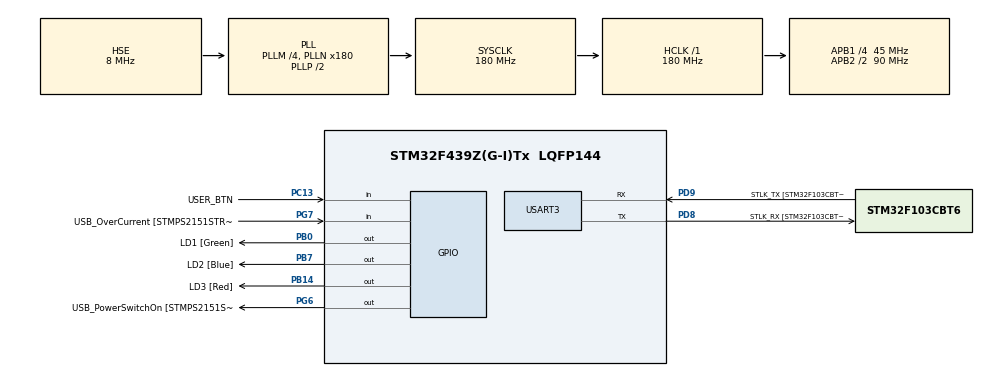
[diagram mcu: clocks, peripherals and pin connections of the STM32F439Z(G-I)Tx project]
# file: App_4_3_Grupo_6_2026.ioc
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Mcu.Family=STM32F4
Mcu.Name=STM32F439Z(G-I)Tx
Mcu.Package=LQFP144
NVIC.PriorityGroup=NVIC_PRIORITYGROUP_4
PA13.GPIO_Label=TMS
PA13.Mode=Serial_Wire
PA13.Signal=SYS_JTMS-SWDIO
PA14.GPIO_Label=TCK
PA14.Mode=Serial_Wire
PA14.Signal=SYS_JTCK-SWCLK
PB0.GPIO_Label=LD1 [Green]
PB0.Signal=GPIO_Output
PB14.GPIO_Label=LD3 [Red]
PB14.Signal=GPIO_Output
PB7.GPIO_Label=LD2 [Blue]
PB7.Signal=GPIO_Output
PC13.GPIO_Label=USER_BTN
PC13.Signal=GPIO_Input
PC14/OSC32_IN.Mode=LSE-External-Oscillator
PC14/OSC32_IN.Signal=RCC_OSC32_IN
PC15/OSC32_OUT.Mode=LSE-External-Oscillator
PC15/OSC32_OUT.Signal=RCC_OSC32_OUT
PD8.GPIO_Label=STLK_RX [STM32F103CBT6_PA3]
PD8.Mode=Asynchronous
PD8.Signal=USART3_TX
PD9.GPIO_Label=STLK_TX [STM32F103CBT6_PA2]
PD9.Mode=Asynchronous
PD9.Signal=USART3_RX
PG6.GPIO_Label=USB_PowerSwitchOn [STMPS2151STR_EN]
PG6.Signal=GPIO_Output
PG7.GPIO_Label=USB_OverCurrent [STMPS2151STR_FAULT]
PG7.Signal=GPIO_Input
PH0/OSC_IN.GPIO_Label=MCO [STM32F103CBT6_PA8]
PH0/OSC_IN.Mode=HSE-External-Oscillator
PH0/OSC_IN.Signal=RCC_OSC_IN
PH1/OSC_OUT.Mode=HSE-External-Oscillator
PH1/OSC_OUT.Signal=RCC_OSC_OUT
ProjectManager.HeapSize=0x200
ProjectManager.StackSize=0x400
ProjectManager.TargetToolchain=STM32CubeIDE
RCC.48MHZClocksFreq_Value=51428571.428571425
RCC.AHBFreq_Value=180000000
RCC.APB1CLKDivider=RCC_HCLK_DIV4
RCC.APB1Freq_Value=45000000
RCC.APB1TimFreq_Value=90000000
RCC.APB2CLKDivider=RCC_HCLK_DIV2
RCC.APB2Freq_Value=90000000
RCC.APB2TimFreq_Value=180000000
RCC.CortexFreq_Value=180000000
RCC.HCLKFreq_Value=180000000
RCC.HSE_VALUE=8000000
RCC.HSI_VALUE=16000000
RCC.PLLM=4
RCC.PLLMUL=RCC_PLL_MUL9
RCC.PLLN=180
RCC.PLLQ=7
RCC.PLLSourceVirtual=RCC_PLLSOURCE_HSE
RCC.PRESCALERUSB=RCC_USBCLKSOURCE_PLL_DIV1_5
RCC.SYSCLKFreq_VALUE=180000000
RCC.SYSCLKSource=RCC_SYSCLKSOURCE_PLLCLK
RCC.SYSCLKSourceVirtual=RCC_SYSCLKSOURCE_PLLCLK
RCC.USBFreq_Value=48000000
RCC.VCOOutputFreq_Value=360000000
USART3.VirtualMode=VM_ASYNC
board=NUCLEO-F439ZI

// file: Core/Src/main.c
/* USER CODE BEGIN Header */
/**
 * @file main.c
 * @author Mamani Flores Carlos (UTN FRT)
 * @brief Aplicación multiesquema de secuencias de LEDs gobernada por MEF jerárquica.
 * @details Módulo de Capa 3 que commuta cíclicamente entre 4 patrones luminosos
 *          (secuencia paso a paso, parpadeo síncrono, asíncrono y contrafase) mediante
 *          el USER_Btn con antirrebote y temporizaciones independientes no bloqueantes.
 * @version 1.0
 * @date 2026
 *
 * @attention
 * Copyright (c) 2026 STMicroelectronics.
 * All rights reserved.
 */
/* USER CODE END Header */
#include "main.h"

/* USER CODE BEGIN Includes */

#include "stdbool.h"
#include "driver_led.h"
#include "driver_led_pal.h"
#include "nb_delay.h"
#include "driver_boton.h"
#include "driver_boton_pal.h"

/* USER CODE END Includes */

/* USER CODE BEGIN PTD */

/** * @brief Definición de estados para la MEF.
 */
typedef enum{
	Secuencia_1 = 0,
	Secuencia_2,
	Secuencia_3,
	Secuencia_4
} Estado_t;

/**
 * @brief Definición de estados para la MEF de Secuencia 1.
 */
typedef enum{
	Estado_Encendido = 0,
	Estado_Apagado
} Estado_Sec1_t;

/* USER CODE END PTD */

/* USER CODE BEGIN PD */

#define INDICE_BTN_USER 0U

/* USER CODE END PD */

UART_HandleTypeDef huart3;

/* USER CODE BEGIN PV */

/* Tablas físicas asociadas a la Capa PAL */
static const BOTON_Hardware_t tabla_botones_hw[] = {
		[INDICE_BTN_USER] = {USER_BTN_GPIO_Port, USER_BTN_Pin, BOTON_ACTIVO_ALTO}
};
static const uint8_t cant_botones = sizeof(tabla_botones_hw) / sizeof(tabla_botones_hw[0]);

static const LED_Hardware_t tabla_leds_hardware[] = {
		{LD1_GPIO_Port, LD1_Pin}, // LED 0: Verde
		{LD2_GPIO_Port, LD2_Pin}, // LED 1: Azul
		{LD3_GPIO_Port, LD3_Pin}  // LED 2: Rojo
};
static const uint8_t total_leds = sizeof(tabla_leds_hardware) / sizeof(tabla_leds_hardware[0]);

/* Base de tiempos configurables */
static const tick_t tiempo_sec1 = 150U;
static const tick_t tiempo_sec2 = 300U;
static const tick_t tiempo_sec4 = 300U;
static const tick_t tiempo_debounce = 50U; // Ventana de guarda para el antirrebote

/* Instancias de temporización no bloqueante */
static nb_delay_t delay_sec1;
static nb_delay_t delay_sec2;
static nb_delay_t delay_sec3_led0; // 100 ms
static nb_delay_t delay_sec3_led1; // 300 ms
static nb_delay_t delay_sec3_led2; // 600 ms
static nb_delay_t delay_sec4;
/* Instancia de retardo para el antirrebote (Debounce) */
static nb_delay_t delay_debounce;

/* Variables de control de estados */
static Estado_t estado_secuencia = Secuencia_1;
static Estado_Sec1_t modo_sec1 = Estado_Encendido;
static uint8_t indice_led = 0U;
static bool estado_parpadeo_sec2 = false;
static bool estado_parpadeo_sec4 = false;

/* USER CODE END PV */

void SystemClock_Config(void);
static void MX_GPIO_Init(void);
static void MX_USART3_UART_Init(void);
/* USER CODE BEGIN PFP */

static void Reset_Secuencias_Variables(void);

/* USER CODE END PFP */

/* USER CODE BEGIN 0 */

/**
 * @brief Reinicia las variables locales y apaga todas las salidas.
 */
static void Reset_Secuencias_Variables(void)
{
	for (uint8_t i = 0U; i < LED_GetCount(); i++)
	{
		LED_Write(i, false);
	}

	indice_led = 0U;
	modo_sec1 = Estado_Encendido;
	estado_parpadeo_sec2 = false;
	estado_parpadeo_sec4 = false;

	/* Reinicio de temporizadores para inicio sincronizado */
	nb_delay_init(&delay_sec1, tiempo_sec1);
	nb_delay_init(&delay_sec2, tiempo_sec2);
	nb_delay_init(&delay_sec3_led0, 100U);
	nb_delay_init(&delay_sec3_led1, 300U);
	nb_delay_init(&delay_sec3_led2, 600U);
	nb_delay_init(&delay_sec4, tiempo_sec4);
	nb_delay_init(&delay_debounce, tiempo_debounce);
}

/* USER CODE END 0 */

int main(void)
{

	/* MCU Configuration--------------------------------------------------------*/

	/* Reset of all peripherals, Initializes the Flash interface and the Systick. */
	HAL_Init();

	/* Configure the system clock */
	SystemClock_Config();

	/* Initialize all configured peripherals */
	MX_GPIO_Init();
	MX_USART3_UART_Init();
	/* USER CODE BEGIN 2 */

	/* Inicialización de controladores de Capa 2 */
	LED_Init(tabla_leds_hardware, total_leds);
	BOTON_Init(tabla_botones_hw, cant_botones);

	/* Inicialización de temporizadores y variables */
	Reset_Secuencias_Variables();

	/* USER CODE END 2 */

	/* Infinite loop */
	while (1)
	{

		/* USER CODE BEGIN 3 */

		/*
		 * 1. Polling con antirrebote no bloqueante:
		 * Evalúa el botón cada 'tiempo_debounce' ms, ignorando el ruido de los contactos.
		 */
		if (nb_delay_read(&delay_debounce))
		{
			if (BOTON_DetectarFlancoPresionado(INDICE_BTN_USER))
			{
				estado_secuencia++;
				if (estado_secuencia > Secuencia_4)
				{
					estado_secuencia = Secuencia_1;
				}

				Reset_Secuencias_Variables();
			}
		}

		/*
		 * 2. Máquina de Estados Principal (100% no bloqueante)
		 */
		switch (estado_secuencia)
		{
		case Secuencia_1:
			/* Secuencia circular paso a paso */
			if (nb_delay_read(&delay_sec1))
			{
				switch (modo_sec1)
				{
				case Estado_Encendido:
					LED_Write(indice_led, true);
					modo_sec1 = Estado_Apagado;
					break;

				case Estado_Apagado:
					LED_Write(indice_led, false);
					indice_led++;
					if (indice_led >= LED_GetCount())
					{
						indice_led = 0U;
					}
					modo_sec1 = Estado_Encendido;
					break;

				default:
					modo_sec1 = Estado_Encendido;
					indice_led = 0U;
					break;
				}
			}
			break;

		case Secuencia_2:
			/* Parpadeo síncrono general (toggle en bloque cada 300 ms) */
			if (nb_delay_read(&delay_sec2))
			{
				estado_parpadeo_sec2 = !estado_parpadeo_sec2;
				for (uint8_t j = 0U; j < LED_GetCount(); j++)
				{
					LED_Write(j, estado_parpadeo_sec2);
				}
			}
			break;

		case Secuencia_3:
			/* Parpadeo asincrónico independiente por LED */
			if (nb_delay_read(&delay_sec3_led0))
			{
				LED_Toggle(0U); // LED 0 conmuta cada 100 ms
			}
			if (nb_delay_read(&delay_sec3_led1))
			{
				LED_Toggle(1U); // LED 1 conmuta cada 300 ms
			}
			if (nb_delay_read(&delay_sec3_led2))
			{
				LED_Toggle(2U); // LED 2 conmuta cada 600 ms
			}
			break;

		case Secuencia_4:
			/* Parpadeo cruzado en antifase cada 300 ms */
			if (nb_delay_read(&delay_sec4))
			{
				estado_parpadeo_sec4 = !estado_parpadeo_sec4;

				/* LED 0 y 2 en fase directa / LED 1 en contrafase */
				LED_Write(0U, estado_parpadeo_sec4);
				LED_Write(2U, estado_parpadeo_sec4);
				LED_Write(1U, !estado_parpadeo_sec4);
			}
			break;

		default:
			/* Recuperación defensiva ante fallas de memoria */
			estado_secuencia = Secuencia_1;
			Reset_Secuencias_Variables();
			break;
		}
	}
	/* USER CODE END 3 */
}

void SystemClock_Config(void)
{
	RCC_OscInitTypeDef RCC_OscInitStruct = {0};
	RCC_ClkInitTypeDef RCC_ClkInitStruct = {0};

	/** Configure the main internal regulator output voltage
	 */
	__HAL_RCC_PWR_CLK_ENABLE();
	__HAL_PWR_VOLTAGESCALING_CONFIG(PWR_REGULATOR_VOLTAGE_SCALE1);

	/** Initializes the RCC Oscillators according to the specified parameters
	 * in the RCC_OscInitTypeDef structure.
	 */
	RCC_OscInitStruct.OscillatorType = RCC_OSCILLATORTYPE_HSE;
	RCC_OscInitStruct.HSEState = RCC_HSE_ON;
	RCC_OscInitStruct.PLL.PLLState = RCC_PLL_ON;
	RCC_OscInitStruct.PLL.PLLSource = RCC_PLLSOURCE_HSE;
	RCC_OscInitStruct.PLL.PLLM = 4;
	RCC_OscInitStruct.PLL.PLLN = 180;
	RCC_OscInitStruct.PLL.PLLP = RCC_PLLP_DIV2;
	RCC_OscInitStruct.PLL.PLLQ = 7;
	if (HAL_RCC_OscConfig(&RCC_OscInitStruct) != HAL_OK)
	{
		Error_Handler();
	}

	/** Activate the Over-Drive mode
	 */
	if (HAL_PWREx_EnableOverDrive() != HAL_OK)
	{
		Error_Handler();
	}

	/** Initializes the CPU, AHB and APB buses clocks
	 */
	RCC_ClkInitStruct.ClockType = RCC_CLOCKTYPE_HCLK|RCC_CLOCKTYPE_SYSCLK
			|RCC_CLOCKTYPE_PCLK1|RCC_CLOCKTYPE_PCLK2;
	RCC_ClkInitStruct.SYSCLKSource = RCC_SYSCLKSOURCE_PLLCLK;
	RCC_ClkInitStruct.AHBCLKDivider = RCC_SYSCLK_DIV1;
	RCC_ClkInitStruct.APB1CLKDivider = RCC_HCLK_DIV4;
	RCC_ClkInitStruct.APB2CLKDivider = RCC_HCLK_DIV2;

	if (HAL_RCC_ClockConfig(&RCC_ClkInitStruct, FLASH_LATENCY_5) != HAL_OK)
	{
		Error_Handler();
	}
}

static void MX_USART3_UART_Init(void)
{

	huart3.Instance = USART3;
	huart3.Init.BaudRate = 115200;
	huart3.Init.WordLength = UART_WORDLENGTH_8B;
	huart3.Init.StopBits = UART_STOPBITS_1;
	huart3.Init.Parity = UART_PARITY_NONE;
	huart3.Init.Mode = UART_MODE_TX_RX;
	huart3.Init.HwFlowCtl = UART_HWCONTROL_NONE;
	huart3.Init.OverSampling = UART_OVERSAMPLING_16;
	if (HAL_UART_Init(&huart3) != HAL_OK)
	{
		Error_Handler();
	}

}

static void MX_GPIO_Init(void)
{
	GPIO_InitTypeDef GPIO_InitStruct = {0};

	/* GPIO Ports Clock Enable */
	__HAL_RCC_GPIOC_CLK_ENABLE();
	__HAL_RCC_GPIOH_CLK_ENABLE();
	__HAL_RCC_GPIOB_CLK_ENABLE();
	__HAL_RCC_GPIOD_CLK_ENABLE();
	__HAL_RCC_GPIOG_CLK_ENABLE();
	__HAL_RCC_GPIOA_CLK_ENABLE();

	/*Configure GPIO pin Output Level */
	HAL_GPIO_WritePin(GPIOB, LD1_Pin|LD3_Pin|LD2_Pin, GPIO_PIN_RESET);

	/*Configure GPIO pin Output Level */
	HAL_GPIO_WritePin(USB_PowerSwitchOn_GPIO_Port, USB_PowerSwitchOn_Pin, GPIO_PIN_RESET);

	/*Configure GPIO pin : USER_BTN_Pin */
	GPIO_InitStruct.Pin = USER_BTN_Pin;
	GPIO_InitStruct.Mode = GPIO_MODE_INPUT;
	GPIO_InitStruct.Pull = GPIO_NOPULL;
	HAL_GPIO_Init(USER_BTN_GPIO_Port, &GPIO_InitStruct);

	/*Configure GPIO pins : LD1_Pin LD3_Pin LD2_Pin */
	GPIO_InitStruct.Pin = LD1_Pin|LD3_Pin|LD2_Pin;
	GPIO_InitStruct.Mode = GPIO_MODE_OUTPUT_PP;
	GPIO_InitStruct.Pull = GPIO_NOPULL;
	GPIO_InitStruct.Speed = GPIO_SPEED_FREQ_LOW;
	HAL_GPIO_Init(GPIOB, &GPIO_InitStruct);

	/*Configure GPIO pin : USB_PowerSwitchOn_Pin */
	GPIO_InitStruct.Pin = USB_PowerSwitchOn_Pin;
	GPIO_InitStruct.Mode = GPIO_MODE_OUTPUT_PP;
	GPIO_InitStruct.Pull = GPIO_NOPULL;
	GPIO_InitStruct.Speed = GPIO_SPEED_FREQ_LOW;
	HAL_GPIO_Init(USB_PowerSwitchOn_GPIO_Port, &GPIO_InitStruct);

	/*Configure GPIO pin : USB_OverCurrent_Pin */
	GPIO_InitStruct.Pin = USB_OverCurrent_Pin;
	GPIO_InitStruct.Mode = GPIO_MODE_INPUT;
	GPIO_InitStruct.Pull = GPIO_NOPULL;
	HAL_GPIO_Init(USB_OverCurrent_GPIO_Port, &GPIO_InitStruct);

}

void Error_Handler(void)
{
	__disable_irq();
	while (1)
	{
	}
}
